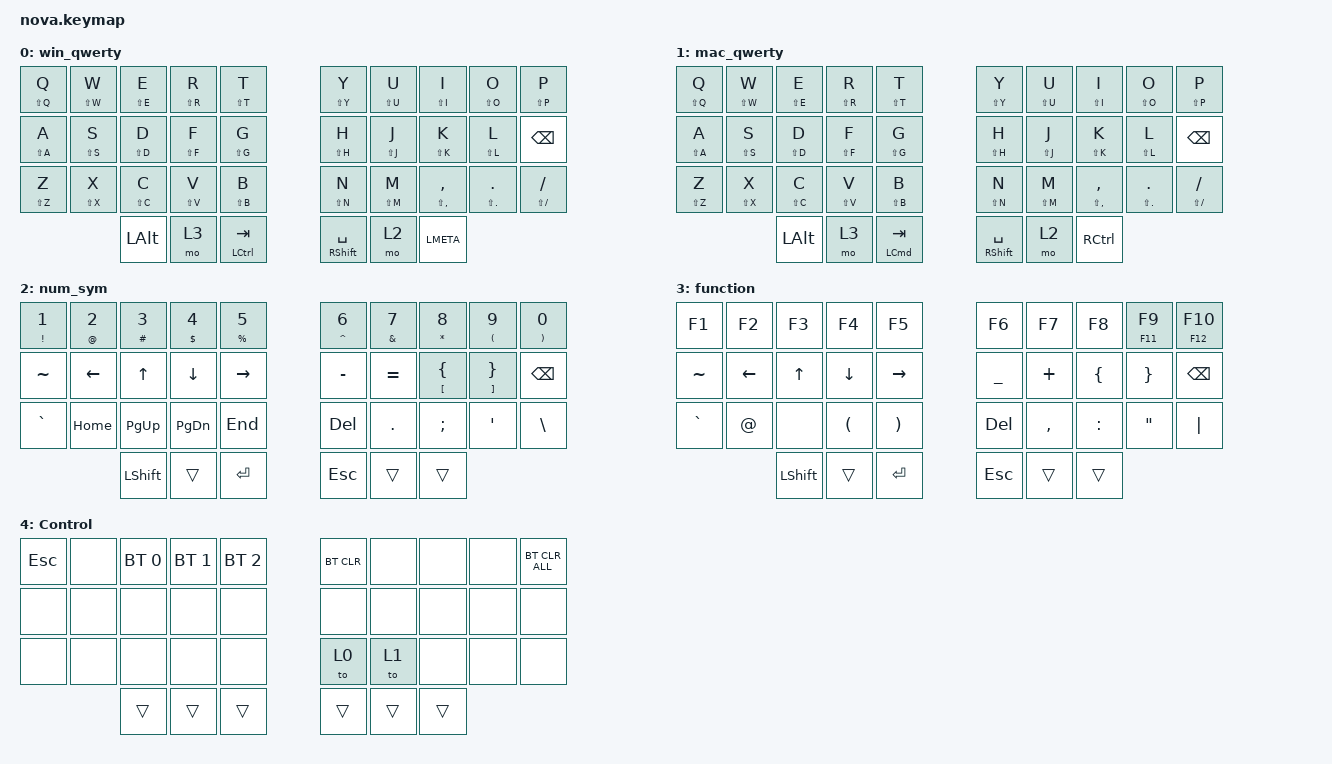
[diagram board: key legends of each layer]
#include <behaviors.dtsi>
#include <dt-bindings/zmk/bt.h>
#include <dt-bindings/zmk/keys.h>

#define DEFAULT     0
#define NUMBER      1
#define FUNCTION    2

&mt {
    flavor = "tap-preferred";
    tapping-term-ms = <300>;
};

/ {
    combos { compatible = "zmk,combos"; };

    behaviors {
        as: auto_shift {
            compatible = "zmk,behavior-hold-tap";
            bindings = <&kp>, <&kp>;

            #binding-cells = <2>;
            flavor = "tap-preferred";
            tapping-term-ms = <300>;
        };
    };

    keymap {
        compatible = "zmk,keymap";

        win_qwerty {
            // -----------------------------------------------------------------------------------------------------------
            //  |  Q   |  W   |  E   |  R   |  T   |      |  Y   |  U   |  I   |  O   |  P    |
            //  |  A   |  S   |  D   |  F   |  G   |      |  H   |  J   |  K   |  L   |  BSPC |
            //  |  Z   |  X   |  C   |  V   |  B   |      |  N   |  M   |  ,   |  .   |  /    |
            // |              |  LALT|  RET |  TAB |      | SPACE|  1   | LMETA|

            bindings = <
&as LS(Q) Q  &as LS(W) W  &as LS(E) E  &as LS(R) R  &as LS(T) T      &as LS(Y) Y      &as LS(U) U  &as LS(I) I          &as LS(O) O            &as LS(P) P
&as LS(A) A  &as LS(S) S  &as LS(D) D  &as LS(F) F  &as LS(G) G      &as LS(H) H      &as LS(J) J  &as LS(K) K          &as LS(L) L            &kp BSPC
&as LS(Z) Z  &as LS(X) X  &as LS(C) C  &as LS(V) V  &as LS(B) B      &as LS(N) N      &as LS(M) M  &as LS(COMMA) COMMA  &as LS(PERIOD) PERIOD  &as LS(FSLH) FSLH
                          &kp LALT     &mo 3        &mt LCTRL TAB    &mt RSHFT SPACE  &mo 2        &kp LMETA
            >;
        };

        mac_qwerty {
            bindings = <
&as LS(Q) Q  &as LS(W) W  &as LS(E) E  &as LS(R) R  &as LS(T) T     &as LS(Y) Y      &as LS(U) U  &as LS(I) I          &as LS(O) O            &as LS(P) P
&as LS(A) A  &as LS(S) S  &as LS(D) D  &as LS(F) F  &as LS(G) G     &as LS(H) H      &as LS(J) J  &as LS(K) K          &as LS(L) L            &kp BSPC
&as LS(Z) Z  &as LS(X) X  &as LS(C) C  &as LS(V) V  &as LS(B) B     &as LS(N) N      &as LS(M) M  &as LS(COMMA) COMMA  &as LS(PERIOD) PERIOD  &as LS(FSLH) FSLH
                          &kp LALT     &mo 3        &mt LCMD TAB    &mt RSHFT SPACE  &mo 2        &kp RCTRL
            >;
        };

        num_sym {
            // -----------------------------------------------------------------------------------------
            // |  1  |  2  |  3  |  4  |  5  |   |  6  |  7  |  8  |  9  |  0  |
            // |  `  |     |     |  "  |  ?  |   |  _  |  +  |  {  |  }  |  |  |
            // |  ~  |     |     |  '  |  /  |   |  -  |  =  |  [  |  ]  |  \  |
            //             | ESC |  1  | SPC |   |BSPC |  2  | DEL |

            bindings = <
&mt EXCL N1  &mt AT N2  &mt HASH N3     &mt DLLR N4  &mt PRCNT N5    &mt CARET N6  &mt AMPS N7  &mt ASTRK N8   &mt LPAR N9    &mt RPAR N0
&kp TILDE    &kp LEFT   &kp UP          &kp DOWN     &kp RIGHT       &kp MINUS     &kp EQUAL    &mt LBKT LBRC  &mt RBKT RBRC  &kp BSPC
&kp GRAVE    &kp HOME   &kp PG_UP       &kp PG_DN    &kp END         &kp DEL       &kp PERIOD   &kp SEMI       &kp SQT        &kp BSLH
                        &kp LEFT_SHIFT  &trans       &kp RET         &kp ESC       &trans       &trans
            >;
        };

        function {
            bindings = <
&kp F1     &kp F2    &kp F3          &kp F4    &kp F5       &kp F6     &kp F7     &kp F8          &mt F11 F9  &mt F12 F10
&kp TILDE  &kp LEFT  &kp UP_ARROW    &kp DOWN  &kp RIGHT    &kp UNDER  &kp PLUS   &kp LEFT_BRACE  &kp RBRC    &kp BACKSPACE
&kp GRAVE  &kp AT    &none           &kp LPAR  &kp RPAR     &kp DEL    &kp COMMA  &kp COLON       &kp DQT     &kp PIPE
                     &kp LEFT_SHIFT  &trans    &kp RET      &kp ESC    &trans     &trans
            >;
        };

        Control {
            // -----------------------------------------------------------------------------------------
            // | F1  | F2  | F3  | F4  | F5  |   | F6  | F7  | F8  | F9  | F10 |
            // | F11 | F12 |     |     |     |   |     | LT  | DW  | UP  |  RT |
            // |BT CL|     | BT 0| BT 1| BT 2|   |     |HOME |PGDW |PGUP | END |
            //             | ESC |  1  | SPC |   |BSPC |  2  | DEL |

            bindings = <
&kp ESC  &none  &bt BT_SEL 0  &bt BT_SEL 1  &bt BT_SEL 2    &bt BT_CLR  &none   &none   &none  &bt BT_CLR_ALL
&none    &none  &none         &none         &none           &none       &none   &none   &none  &none
&none    &none  &none         &none         &none           &to 0       &to 1   &none   &none  &none
                &trans        &trans        &trans          &trans      &trans  &trans
            >;
        };

        // &none           &none           &none           &none           &none               &none           &none           &none           &none           &none 
    };

    conditional_layers {
        compatible = "zmk,conditional-layers";

        bt_layer {
            if-layers = <2 3>;
            then-layer = <4>;
        };
    };
};
